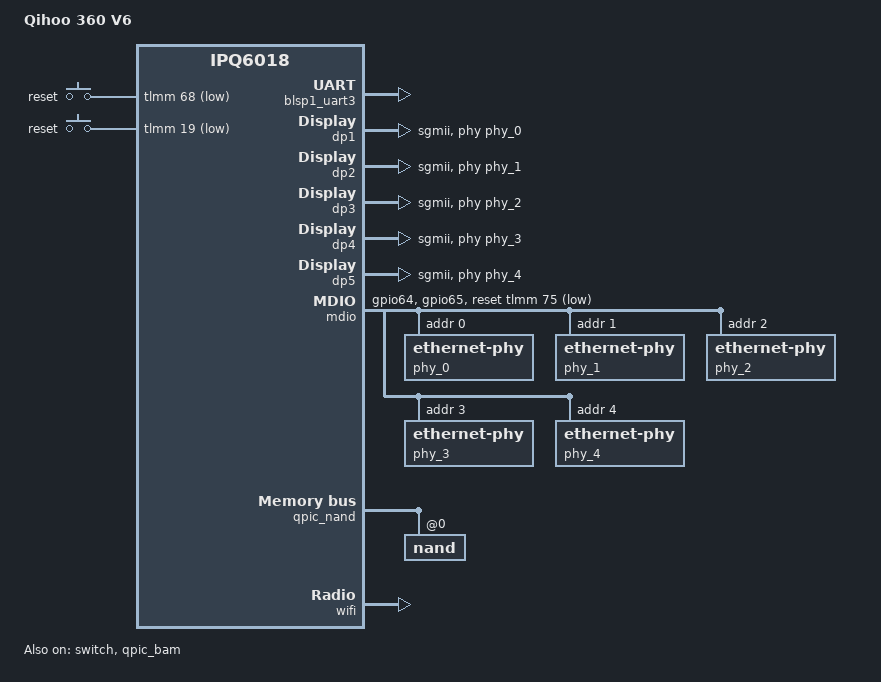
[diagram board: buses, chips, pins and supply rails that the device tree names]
// SPDX-License-Identifier: (GPL-2.0+)

/dts-v1/;

#include "ipq6018.dtsi"
#include "ipq6018-upstreamable.dtsi"
#include "ipq6018-ess.dtsi"

#include <dt-bindings/input/input.h>
#include <dt-bindings/gpio/gpio.h>

/ {
	model = "Qihoo 360 V6";
	compatible = "qihoo,v6", "qcom,ipq6018";

	aliases {
		serial0 = &blsp1_uart3;
// 		led-boot = &led_power;
// 		led-failsafe = &led_power;
// 		led-running = &led_power;
// 		led-upgrade = &led_power;
	};

	chosen {
		stdout-path = "serial0:115200n8";
	};

	keys {
		compatible = "gpio-keys";

		reset {
			label = "reset";
			gpios = <&tlmm 68 GPIO_ACTIVE_LOW>;
			linux,code = <KEY_RESTART>;
		};

		wps {
			label = "reset";
			gpios = <&tlmm 19 GPIO_ACTIVE_LOW>;
			linux,code = <KEY_WPS_BUTTON>;
		};
	};
};

&blsp1_uart3 {
	pinctrl-0 = <&serial_3_pins>;
	pinctrl-names = "default";
	status = "okay";
};

&tlmm {

	mdio_pins: mdio-pins {
		mdc {
			pins = "gpio64";
			function = "mdc";
			drive-strength = <8>;
			bias-pull-up;
		};

		mdio {
			pins = "gpio65";
			function = "mdio";
			drive-strength = <8>;
			bias-pull-up;
		};
	};
};

&soc {
	dp1: dp@1 {
		compatible = "qcom,nss-dp";
		reg = <0x0 0x3a001000 0x0 0x200>;
		qcom,mactype = <0>;
		qcom,id = <1>;

		phy-handle = <&phy_0>;
		phy-mode = "sgmii";
	};

	dp2 {
		compatible = "qcom,nss-dp";
		reg = <0x0 0x3a001200 0x0 0x200>;
		qcom,mactype = <0>;
		qcom,id = <2>;

		phy-handle = <&phy_1>;
		phy-mode = "sgmii";
	};

	dp3 {
		compatible = "qcom,nss-dp";
		reg = <0x0 0x3a001400 0x0 0x200>;
		qcom,mactype = <0>;
		qcom,id = <3>;

		phy-handle = <&phy_2>;
		phy-mode = "sgmii";
	};

	dp4 {
		compatible = "qcom,nss-dp";
		reg = <0x0 0x3a001600 0x0 0x200>;
		qcom,mactype = <0>;
		qcom,id = <4>;

		phy-handle = <&phy_3>;
		phy-mode = "sgmii";
	};

	dp5 {
		compatible = "qcom,nss-dp";
		reg = <0x0 0x3a001800 0x0 0x200>;
		qcom,mactype = <0>;
		qcom,id = <5>;

		phy-handle = <&phy_4>;
		phy-mode = "sgmii";
	};
};

&edma {
	status = "okay";
};

&mdio {
	status = "okay";
	pinctrl-0 = <&mdio_pins>;
	pinctrl-names = "default";
	reset-gpios = <&tlmm 75 GPIO_ACTIVE_LOW>;

	phy_0: ethernet-phy@0 {
		reg = <0>;
// 		reset-gpios = <&tlmm 77 GPIO_ACTIVE_LOW>;
	};

	phy_1: ethernet-phy@1 {
		reg = <1>;
	};

	phy_2: ethernet-phy@2 {
		reg = <2>;
	};

	phy_3: ethernet-phy@3 {
		reg = <3>;
	};

	phy_4: ethernet-phy@4 {
		reg = <4>;
	};

};

&switch {
	status = "okay";

	switch_lan_bmp = <0x1e>;
	switch_wan_bmp = <0x20>;
	switch_mac_mode = <0x00>;
	switch_mac_mode1 = <0xff>;
	switch_mac_mode2 = <0xff>;

	qcom,port_phyinfo {
		port@0 {
			port_id = <0x01>;
			phy_address = <0x00>;
		};
		port@1 {
			port_id = <0x02>;
			phy_address = <0x01>;
		};
		port@2 {
			port_id = <0x03>;
			phy_address = <0x02>;
		};
		port@3 {
			port_id = <0x04>;
			phy_address = <0x03>;
		};
		port@4 {
			port_id = <0x05>;
			phy_address = <0x04>;
		};
	};
};

&qpic_bam {
	status = "okay";
};

&qpic_nand {
	status = "okay";

	nand@0 {
		reg = <0>;

		nand-ecc-strength = <4>;
		nand-ecc-step-size = <512>;
		nand-bus-width = <8>;
	};
};

&wifi {
	status = "okay";
};


